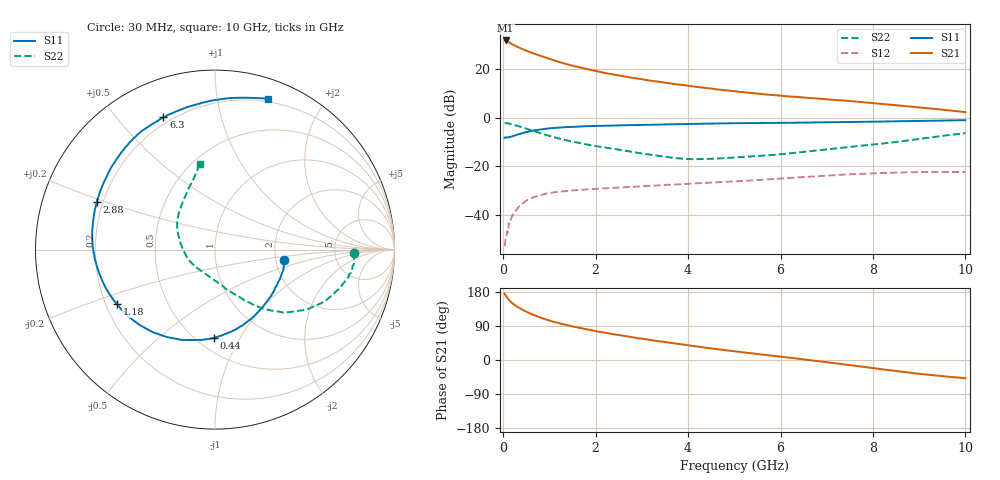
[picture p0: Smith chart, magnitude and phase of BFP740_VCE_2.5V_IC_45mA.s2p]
! Infineon Technologies  Discrete & RF Semiconductors
! BFP740
! VCE =  2.5 V,  IC =  45 mA
! Common Emitter S-Parameters:  Jan 2016
# GHz  S  MA  R  50
!  f  S11  S21  S12  S22
! GHz  MAG  ANG  MAG  ANG  MAG  ANG  MAG  ANG
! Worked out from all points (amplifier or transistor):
!   229 points, 30 MHz to 10 GHz, reference 50 ohm
!   highest |S21| = 31.8 dB at 50 MHz (marker M1)
!   |S21| within 3 dB of that: start of sweep to 352.1 MHz
!   unconditionally stable (mu >= 1): start of sweep to 112.3 MHz; 3.183 GHz to end of sweep
!   at 280 MHz: K = 0.62, MSG = 33.7 dB, |S12| = -38.0 dB
!   at 1.78 GHz: K = 0.72, MSG = 24.8 dB, |S12| = -29.4 dB
!   at 10 GHz: K = 1.11, MAG = 10.3 dB, |S12| = -22.2 dB
!   S11 on the Smith chart (normalised r, x): 30 MHz: 2.21, -0.29; 440 MHz: 0.60, -0.78; 1.18 GHz: 0.25, -0.25; 2.88 GHz: 0.18, +0.19; 6.3 GHz: 0.17, +0.67; 10 GHz: 0.17, +1.40
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0.03  0.3868 -8.2  38.48 174.5  0.0023 69.4  0.7738 -1.3
0.04  0.3865 -11.3  38.22 172.7  0.0026 56.3  0.7771 -2.6
0.05  0.3958 -13.9  38.77 171.1  0.0032 64.9  0.7771 -3.8
0.08  0.3954 -21.8  37.59 165.2  0.0041 56.7  0.7722 -6.7
0.11  0.3971 -29.8  36.17 160.5  0.005 66.0  0.7677 -9.7
0.15  0.4051 -39.4  34.4 155.3  0.0073 66.3  0.7496 -13.1
0.2  0.4167 -50.8  32.14 149.5  0.01 67.1  0.7278 -16.9
0.3  0.4483 -69.8  28.8 140.7  0.0133 64.0  0.6861 -23.5
0.44  0.4916 -90.8  25.27 131.1  0.0181 55.7  0.6248 -31.3
0.6  0.5356 -109.8  21.93 121.7  0.0222 49.8  0.5559 -38.5
0.8  0.5762 -127.1  18.83 112.1  0.0258 42.7  0.4827 -45.4
1  0.607 -141.0  16.16 104.0  0.0285 38.2  0.4237 -51.0
1.18  0.6256 -150.8  14.31 97.8  0.03 34.9  0.3801 -54.7
1.7  0.6647 -171.8  10.59 83.4  0.0332 30.1  0.296 -62.9
2.2  0.6888 173.5  8.303 71.9  0.0355 27.0  0.2449 -70.9
2.88  0.7104 157.9  6.423 58.4  0.0386 25.4  0.1929 -82.1
3.4  0.7254 147.6  5.465 49.0  0.041 24.2  0.1628 -96.1
5.1  0.7745 122.6  3.406 21.5  0.05 20.6  0.1549 -155.7
6.3  0.7907 111.3  2.706 4.6  0.0592 16.8  0.1896 172.3
6.8  0.7996 105.8  2.488 -2.8  0.0633 13.9  0.2131 161.0
8.4  0.8446 85.7  1.848 -27.6  0.0743 1.4  0.3095 127.1
10  0.8916 70.6  1.307 -48.1  0.0773 -10.2  0.482 100.2
